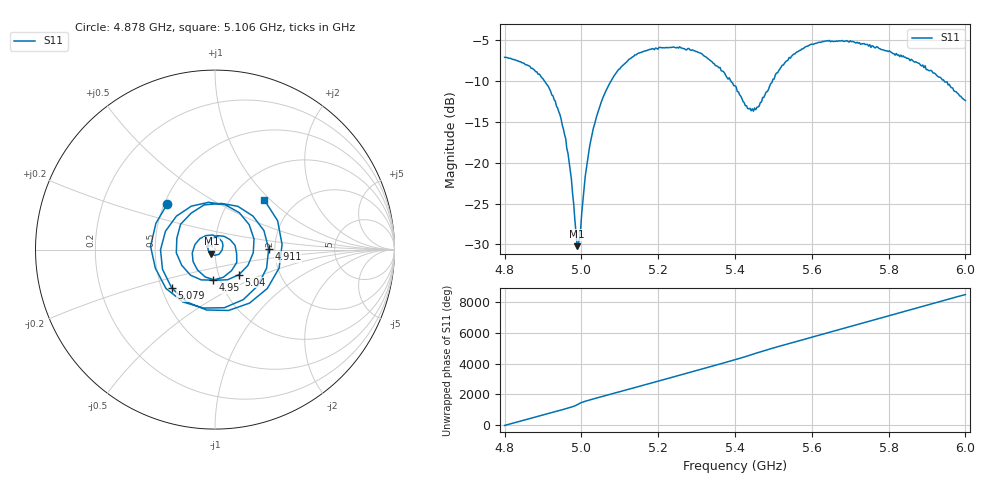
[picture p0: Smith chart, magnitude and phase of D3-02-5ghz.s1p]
! NanoVNA-App
! Date: 2026-05-22 18:44:27
! Start: 4.8GHz Stop: 6GHz Points: 401
! S-Parameter data: F S11
# Hz S RI R 50
!  Frequency  S11_Real  S11_Imag
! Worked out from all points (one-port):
!   401 points, 4.8 GHz to 6 GHz, reference 50 ohm
!   lowest |S11| = -30.2 dB at 4.989 GHz (marker M1), VSWR 1.06, Z = 48 - j2.27 ohm
!   |S11| at or under -10 dB: 4.903 GHz to 5.077 GHz (173.7 MHz wide, 3.48 % of centre); 5.389 GHz to 5.497 GHz (108.4 MHz wide, 1.99 % of centre); 5.944 GHz to end of sweep
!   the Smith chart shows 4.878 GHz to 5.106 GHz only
!   S11 on the Smith chart (normalised r, x): 4.878 GHz: 0.52, +0.30; 4.911 GHz: 1.85, +0.02; 4.95 GHz: 0.92, -0.32; 5.04 GHz: 1.25, -0.36; 5.079 GHz: 0.56, -0.27; 5.106 GHz: 1.41, +0.92
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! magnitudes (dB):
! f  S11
! 4.8 GHz  -7.1
! 4.878 GHz  -8.7
! 4.911 GHz  -10.5
! 4.932 GHz  -12.5
! 4.95 GHz  -15.4
! 4.968 GHz  -19.9
! 4.983 GHz  -27.0
! 4.989 GHz  -30.2
! 4.995 GHz  -29.3
! 5.01 GHz  -21.7
! 5.019 GHz  -18.8
! 5.04 GHz  -14.3
! 5.079 GHz  -9.8
! 5.1 GHz  -8.5
! 5.106 GHz  -8.2
! 5.154 GHz  -6.5
! 5.25 GHz  -5.9
! 5.316 GHz  -6.8
! 5.4 GHz  -10.6
! 5.43 GHz  -13.0
! 5.454 GHz  -13.5
! 5.511 GHz  -9.0
! 5.55 GHz  -6.8
! 5.622 GHz  -5.3
! 5.7 GHz  -5.1
! 5.85 GHz  -7.2
! 5.916 GHz  -9.0
! 6 GHz  -12.4
